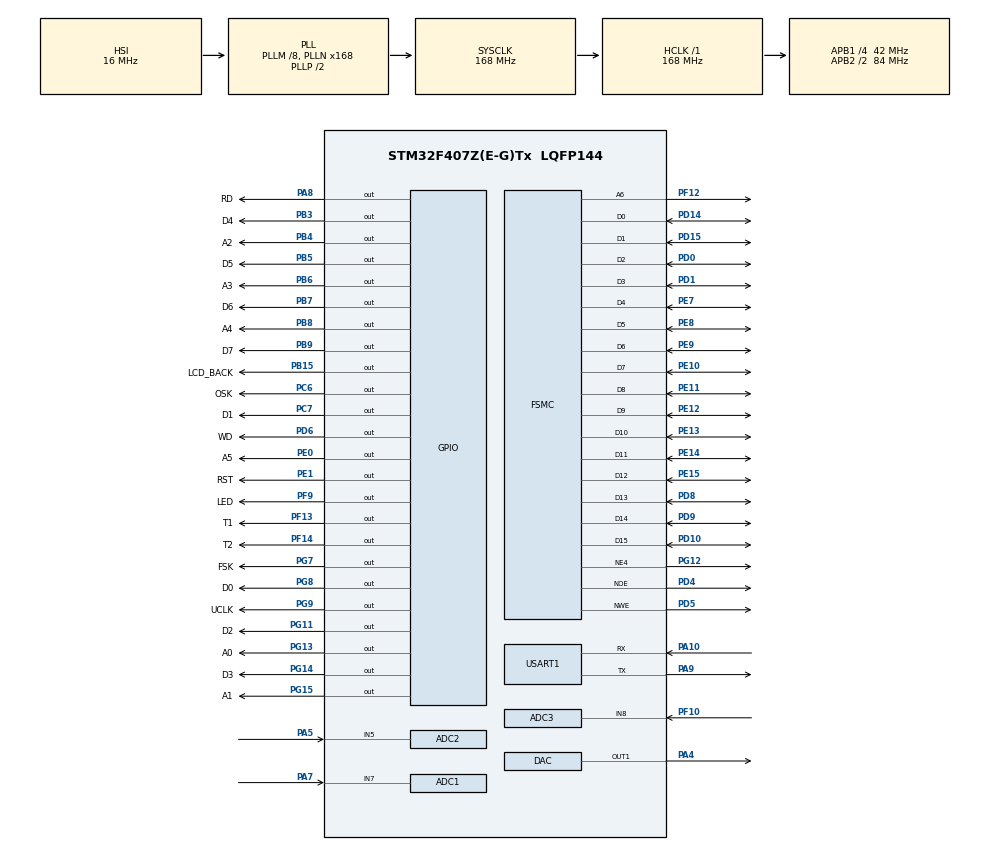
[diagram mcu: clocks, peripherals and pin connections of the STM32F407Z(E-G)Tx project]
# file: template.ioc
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PH0-OSC_IN.Signal=RCC_OSC_IN
Dma.DAC1.2.PeriphInc=DMA_PINC_DISABLE
SH.FSMC_D1_DA1.0=FSMC_D1,16b-d1
PG8.Signal=GPIO_Output
SH.FSMC_NWE.0=FSMC_NWE,Lcd1
PC6.GPIO_Label=OSK
PB6.GPIO_Label=A3
FSMC.ExtendedBusTurnAroundDuration1=0
Dma.ADC3.4.MemDataAlignment=DMA_MDATAALIGN_HALFWORD
PD6.GPIO_Label=WD
PG13.Signal=GPIO_Output
PB3.GPIO_Speed=GPIO_SPEED_FREQ_VERY_HIGH
Dma.ADC3.4.PeriphInc=DMA_PINC_DISABLE
TIM4.TIM_MasterOutputTrigger=TIM_TRGO_UPDATE
RCC.SYSCLKSource=RCC_SYSCLKSOURCE_PLLCLK
Dma.DAC1.2.FIFOMode=DMA_FIFOMODE_DISABLE
FREERTOS.configENABLE_FPU=1
Dma.USART1_TX.0.Direction=DMA_MEMORY_TO_PERIPH
PG15.GPIO_Label=A1
PD4.Signal=FSMC_NOE
RCC.APB2TimFreq_Value=168000000
PB6.Signal=GPIO_Output
ADC1.Channel-2\#ChannelRegularConversion=ADC_CHANNEL_7
PC7.Signal=GPIO_Output
Dma.ADC1.1.PeriphDataAlignment=DMA_PDATAALIGN_HALFWORD
PD0.Signal=FSMC_D2_DA2
PD8.Signal=FSMC_D13_DA13
PE1.Signal=GPIO_Output
PF14.GPIO_Speed=GPIO_SPEED_FREQ_LOW
Dma.ADC2.3.MemDataAlignment=DMA_MDATAALIGN_HALFWORD
NVIC.TIM8_TRG_COM_TIM14_IRQn=true\:0\:0\:false\:false\:true\:false\:false\:true
ADC3.SamplingTime-2\#ChannelRegularConversion=ADC_SAMPLETIME_3CYCLES
DAC.DAC_Trigger=DAC_TRIGGER_T4_TRGO
SH.FSMC_D10_DA10.0=FSMC_D10,16b-d1
PE9.Signal=FSMC_D6_DA6
PA8.Signal=GPIO_Output
FSMC.BusTurnAroundDuration1=10
TIM4.Period=10-1
ADC3.Channel-2\#ChannelRegularConversion=ADC_CHANNEL_8
VP_FREERTOS_VS_CMSIS_V1.Mode=CMSIS_V1
VP_SYS_VS_tim14.Mode=TIM14
Dma.ADC3.4.Mode=DMA_NORMAL
Dma.USART1_TX.0.PeriphDataAlignment=DMA_PDATAALIGN_BYTE
PE10.Signal=FSMC_D7_DA7
SH.FSMC_D5_DA5.0=FSMC_D5,16b-d1
Dma.ADC3.4.Priority=DMA_PRIORITY_LOW
Dma.ADC3.4.Instance=DMA2_Stream1
Dma.ADC3.4.FIFOMode=DMA_FIFOMODE_DISABLE
Mcu.Package=LQFP144
PB9.Signal=GPIO_Output
TIM2.Prescaler=84-1
NVIC.TimeBase=TIM8_TRG_COM_TIM14_IRQn
NVIC.TimeBaseIP=TIM14
PA10.Signal=USART1_RX
Dma.DAC1.2.Direction=DMA_MEMORY_TO_PERIPH
PB5.GPIO_Speed=GPIO_SPEED_FREQ_VERY_HIGH
PG8.GPIO_Speed=GPIO_SPEED_FREQ_VERY_HIGH
ADC3.DMAContinuousRequests=ENABLE
RCC.APB2CLKDivider=RCC_HCLK_DIV2
NVIC.DMA2_Stream2_IRQn=true\:5\:0\:false\:false\:true\:true\:false\:true
SH.FSMC_D3_DA3.0=FSMC_D3,16b-d1
PF14.Signal=GPIO_Output
RCC.APB1TimFreq_Value=84000000
PF10.Mode=IN8
NVIC.USART1_IRQn=true\:5\:0\:false\:false\:true\:true\:true\:true
PC6.GPIO_Speed=GPIO_SPEED_FREQ_VERY_HIGH
PA8.GPIO_Speed=GPIO_SPEED_FREQ_VERY_HIGH
PD15.Signal=FSMC_D1_DA1
PG12.Signal=FSMC_NE4
FSMC.ExtendedAddressSetupTime1=9
Dma.ADC2.3.PeriphDataAlignment=DMA_PDATAALIGN_HALFWORD
FREERTOS.Tasks01=defaultTask,0,128,StartDefaultTask,Default,NULL,Dynamic,NULL,NULL
PG9.Signal=GPIO_Output
PC6.Signal=GPIO_Output
PD1.Signal=FSMC_D3_DA3
SH.FSMC_D9_DA9.0=FSMC_D9,16b-d1
PF14.GPIO_Label=T2
NVIC.DMA2_Stream1_IRQn=true\:5\:0\:false\:false\:true\:true\:false\:true
Dma.ADC2.3.Priority=DMA_PRIORITY_LOW
RCC.APB1CLKDivider=RCC_HCLK_DIV4
PC14-OSC32_IN.Signal=RCC_OSC32_IN
Dma.ADC3.4.PeriphDataAlignment=DMA_PDATAALIGN_HALFWORD
PF13.GPIO_Label=T1
PG13.GPIO_Label=A0
SH.FSMC_D8_DA8.0=FSMC_D8,16b-d1
PE0.GPIO_Speed=GPIO_SPEED_FREQ_VERY_HIGH
PD10.Signal=FSMC_D15_DA15
PB8.GPIO_Label=A4
PA8.GPIO_Label=RD
FSMC.DataSetupTime1=60
SH.ADCx_IN7.0=ADC1_IN7,IN7
PA9.Signal=USART1_TX
Dma.ADC2.3.Direction=DMA_PERIPH_TO_MEMORY
PA5.Signal=ADCx_IN5
SH.FSMC_D7_DA7.0=FSMC_D7,16b-d1
PE1.GPIO_Label=RST
PE14.Signal=FSMC_D11_DA11
PE15.Signal=FSMC_D12_DA12
PB4.GPIO_Label=A2
PB15.GPIO_Label=LCD_BACK
PE8.Signal=FSMC_D5_DA5
PG7.GPIO_Label=FSK
Dma.ADC3.4.MemInc=DMA_MINC_ENABLE
PF13.Signal=GPIO_Output
ADC1.DMAContinuousRequests=ENABLE
TIM2.Period=5000-1
PA13.Mode=Serial_Wire
PG14.GPIO_Label=D3
Dma.ADC3.4.Direction=DMA_PERIPH_TO_MEMORY
PC7.GPIO_Label=D1
PA4.Signal=COMP_DAC1_group
PB5.Signal=GPIO_Output
ADC1.master=1
ADC2.NbrOfConversionFlag=1
USART1.VirtualMode=VM_ASYNC
SH.FSMC_D15_DA15.0=FSMC_D15,16b-d1
ProjectManager.HeapSize=0x3000
PF9.Signal=GPIO_Output
SH.ADCx_IN5.0=ADC2_IN5,IN5
VP_TIM4_VS_ClockSourceINT.Mode=Internal
Dma.DAC1.2.Priority=DMA_PRIORITY_LOW
NVIC.PriorityGroup=NVIC_PRIORITYGROUP_4
TIM2.AutoReloadPreload=TIM_AUTORELOAD_PRELOAD_ENABLE
PB6.GPIO_Speed=GPIO_SPEED_FREQ_VERY_HIGH
Mcu.Family=STM32F4
RCC.CortexFreq_Value=168000000
Dma.ADC1.1.MemDataAlignment=DMA_MDATAALIGN_HALFWORD
ADC1.ContinuousConvMode=ENABLE
SH.FSMC_A6.0=FSMC_A6,A6_1
ADC2.Channel-0\#ChannelRegularConversion=ADC_CHANNEL_5
SH.FSMC_D0_DA0.0=FSMC_D0,16b-d1
PF9.GPIO_Speed=GPIO_SPEED_FREQ_LOW
PG9.GPIO_Speed=GPIO_SPEED_FREQ_VERY_HIGH
PB15.Signal=GPIO_Output
PG15.Signal=GPIO_Output
PG11.Signal=GPIO_Output
ADC3.Rank-2\#ChannelRegularConversion=1
ProjectManager.StackSize=0x2000
Dma.DAC1.2.MemInc=DMA_MINC_ENABLE
Dma.USART1_TX.0.Priority=DMA_PRIORITY_LOW
ADC2.DMAContinuousRequests=ENABLE
Dma.ADC1.1.Instance=DMA2_Stream0
RCC.HCLKFreq_Value=168000000
PF13.GPIO_Speed=GPIO_SPEED_FREQ_LOW
PF12.Signal=FSMC_A6
Dma.ADC2.3.PeriphInc=DMA_PINC_DISABLE
NVIC.DMA2_Stream0_IRQn=true\:5\:0\:false\:false\:true\:true\:false\:true
RCC.AHBFreq_Value=168000000
PH0-OSC_IN.Mode=HSE-External-Oscillator
RCC.HSE_VALUE=25000000
PG11.GPIO_Speed=GPIO_SPEED_FREQ_VERY_HIGH
ADC1.Rank-2\#ChannelRegularConversion=1
PE13.Signal=FSMC_D10_DA10
SH.FSMC_D14_DA14.0=FSMC_D14,16b-d1
PC14-OSC32_IN.Mode=LSE-External-Oscillator
PA14.Mode=Serial_Wire
SH.FSMC_D6_DA6.0=FSMC_D6,16b-d1
Dma.ADC1.1.Priority=DMA_PRIORITY_HIGH
PB7.Signal=GPIO_Output
Dma.ADC1.1.Mode=DMA_NORMAL
DAC.DAC_OutputBuffer=DAC_OUTPUTBUFFER_DISABLE
SH.FSMC_D4_DA4.0=FSMC_D4,16b-d1
PH1-OSC_OUT.Mode=HSE-External-Oscillator
PB7.GPIO_Label=D6
NVIC.DMA2_Stream7_IRQn=true\:5\:0\:false\:false\:true\:true\:false\:true
Dma.ADC1.1.Direction=DMA_PERIPH_TO_MEMORY
PG15.GPIO_Speed=GPIO_SPEED_FREQ_VERY_HIGH
SH.FSMC_D13_DA13.0=FSMC_D13,16b-d1
Dma.ADC1.1.MemInc=DMA_MINC_ENABLE
Dma.USART1_TX.0.Instance=DMA2_Stream7
ADC2.SamplingTime-0\#ChannelRegularConversion=ADC_SAMPLETIME_3CYCLES
Dma.USART1_TX.0.FIFOMode=DMA_FIFOMODE_DISABLE
PE0.GPIO_Label=A5
TIM2.TIM_MasterOutputTrigger=TIM_TRGO_UPDATE
PB9.GPIO_Speed=GPIO_SPEED_FREQ_VERY_HIGH
PB5.GPIO_Label=D5
Dma.Request2=DAC1
Dma.Request1=ADC1
Dma.Request4=ADC3
Dma.Request3=ADC2
FREERTOS.configUSE_TICK_HOOK=1
Dma.DAC1.2.PeriphDataAlignment=DMA_PDATAALIGN_HALFWORD
SH.FSMC_D2_DA2.0=FSMC_D2,16b-d1
PG11.GPIO_Label=D2
PG13.GPIO_Speed=GPIO_SPEED_FREQ_VERY_HIGH
PE7.Signal=FSMC_D4_DA4
ADC2.Rank-0\#ChannelRegularConversion=1
PD6.Signal=GPIO_Output
Dma.Request0=USART1_TX
PB4.Signal=GPIO_Output
PB7.GPIO_Speed=GPIO_SPEED_FREQ_VERY_HIGH
PB3.GPIO_Label=D4
SH.COMP_DAC1_group.0=DAC_OUT1,DAC_OUT1
PC15-OSC32_OUT.Mode=LSE-External-Oscillator
TIM4.AutoReloadPreload=TIM_AUTORELOAD_PRELOAD_ENABLE
SH.FSMC_D12_DA12.0=FSMC_D12,16b-d1
Dma.USART1_TX.0.MemInc=DMA_MINC_ENABLE
PG7.Signal=GPIO_Output
PB9.GPIO_Label=D7
Dma.USART1_TX.0.PeriphInc=DMA_PINC_DISABLE
PA10.Mode=Asynchronous
FSMC.ExtendedMode1=FSMC_EXTENDED_MODE_ENABLE
FREERTOS.configUSE_TICKLESS_IDLE=0
PD9.Signal=FSMC_D14_DA14
PD5.Signal=FSMC_NWE
Dma.ADC2.3.FIFOMode=DMA_FIFOMODE_DISABLE
Dma.ADC2.3.Instance=DMA2_Stream2
ADC1.SamplingTime-2\#ChannelRegularConversion=ADC_SAMPLETIME_3CYCLES
PG8.GPIO_Label=D0
PA13.Signal=SYS_JTMS-SWDIO
PA9.Mode=Asynchronous
ProjectManager.TargetToolchain=Makefile
NVIC.DMA1_Stream5_IRQn=true\:5\:0\:false\:false\:true\:true\:false\:true
PF9.GPIO_Label=LED
PE11.Signal=FSMC_D8_DA8
PC15-OSC32_OUT.Signal=RCC_OSC32_OUT
PG9.GPIO_Label=UCLK
PG14.Signal=GPIO_Output
FSMC.ExtendedDataSetupTime1=8
Dma.USART1_TX.0.Mode=DMA_NORMAL
board=custom
PG12.Mode=NorPsramChipSelect4_1
PC7.GPIO_Speed=GPIO_SPEED_FREQ_VERY_HIGH
RCC.VCOOutputFreq_Value=336000000
Dma.ADC1.1.FIFOMode=DMA_FIFOMODE_DISABLE
PB4.GPIO_Speed=GPIO_SPEED_FREQ_VERY_HIGH
PG7.GPIO_Speed=GPIO_SPEED_FREQ_VERY_HIGH
RCC.APB2Freq_Value=84000000
VP_TIM2_VS_ClockSourceINT.Mode=Internal
PF10.Signal=ADC3_IN8
Dma.ADC2.3.Mode=DMA_NORMAL
PB15.GPIO_Speed=GPIO_SPEED_FREQ_VERY_HIGH
PE1.GPIO_Speed=GPIO_SPEED_FREQ_VERY_HIGH
PH1-OSC_OUT.Signal=RCC_OSC_OUT
Dma.DAC1.2.Instance=DMA1_Stream5
Dma.DAC1.2.Mode=DMA_CIRCULAR
Dma.DAC1.2.MemDataAlignment=DMA_MDATAALIGN_HALFWORD
Dma.ADC1.1.PeriphInc=DMA_PINC_DISABLE
Dma.ADC2.3.MemInc=DMA_MINC_ENABLE
ADC1.NbrOfConversion=1
Mcu.Name=STM32F407Z(E-G)Tx
PE0.Signal=GPIO_Output
PE12.Signal=FSMC_D9_DA9
PD14.Signal=FSMC_D0_DA0
RCC.48MHZClocksFreq_Value=84000000
PB3.Signal=GPIO_Output
RCC.SYSCLKFreq_VALUE=168000000
Dma.USART1_TX.0.MemDataAlignment=DMA_MDATAALIGN_BYTE
PA14.Signal=SYS_JTCK-SWCLK
SH.FSMC_D11_DA11.0=FSMC_D11,16b-d1
SH.FSMC_NOE.0=FSMC_NOE,Lcd1
RCC.HSI_VALUE=16000000
ADC1.NbrOfConversionFlag=1
RCC.PLLM=8
RCC.PLLN=168
PB8.Signal=GPIO_Output
RCC.APB1Freq_Value=42000000
PB8.GPIO_Speed=GPIO_SPEED_FREQ_VERY_HIGH
ADC3.NbrOfConversionFlag=1
PD6.GPIO_Speed=GPIO_SPEED_FREQ_VERY_HIGH
PG14.GPIO_Speed=GPIO_SPEED_FREQ_VERY_HIGH
ADC1.ClockPrescaler=ADC_CLOCK_SYNC_PCLK_DIV4
PA7.Signal=ADCx_IN7

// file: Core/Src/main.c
/* USER CODE BEGIN Header */
/**
  ******************************************************************************
  * @file           : main.c
  * @brief          : Main program body
  ******************************************************************************
  * @attention
  *
  * <h2><center>&copy; Copyright (c) 2021 STMicroelectronics.
  * All rights reserved.</center></h2>
  *
  * This software component is licensed by ST under Ultimate Liberty license
  * SLA0044, the "License"; You may not use this file except in compliance with
  * the License. You may obtain a copy of the License at:
  *                             www.st.com/SLA0044
  *
  ******************************************************************************
  */
/* USER CODE END Header */
#include "main.h"
#include "cmsis_os.h"
#include "adc.h"
#include "dac.h"
#include "dma.h"
#include "tim.h"
#include "usart.h"
#include "gpio.h"
#include "fsmc.h"

/* USER CODE BEGIN Includes */
#include "lvgl.h"
#include "lvgl_app.h"
#include <stdio.h>
#include <string.h>
#include <math.h>
#include "arm_math.h"
#include "arm_const_structs.h"

/* USER CODE END Includes */

/* USER CODE BEGIN PV */
uint8_t adc1CpltFlg=0;
uint8_t adc2CpltFlg=0;
uint8_t adc3CpltFlg=0;
uint16_t wave[wave_num];
uint16_t wave_auto_points[wave_num];
uint16_t AD1[AD_num];
uint16_t AD2[AD_num];
uint16_t AD3[AD_num];
uint16_t wave_auto_num=0;
uint16_t wave_max;
uint16_t wave_min;
float fft_inputbuf[FFT_LENGTH*2];		// FFT输入数组
float fft_outputbuf[FFT_LENGTH];		// FFT输出数组
uint16_t wave_point[8400] ;
uint16_t point_num;
float khz=350;

/* USER CODE END PV */

void SystemClock_Config(void);
void MX_FREERTOS_Init(void);
/* USER CODE BEGIN PFP */
void HAL_ADC_ConvCpltCallback(ADC_HandleTypeDef *hadc){
  if(hadc->Instance == ADC1){
    adc1CpltFlg =1;
    HAL_ADC_Stop_DMA(&hadc1);
  }
  if(hadc->Instance == ADC2){
    adc2CpltFlg =1;
    HAL_ADC_Stop_DMA(&hadc2);
  }
  if(hadc->Instance == ADC3){
    adc3CpltFlg =1;
    HAL_ADC_Stop_DMA(&hadc3);
  }
}
extern uint8_t waveAutoFlg;
void Wave_Data_Init(void){
  //AD1_Max=0;
  //AD1_Min=4096;
  uint16_t Point_num=AD_num;
  wave_max=0;
  wave_min=3300;
  for(int i = 0,k=0; i < Point_num;) {
    wave[k]=0;
    for (int j = 0; j < Point_num/wave_num; ++j) {
      wave[k]+=AD1[i++];
    }
    //printf("%ld\r\n",AD1[i]);
    wave[k]/=(Point_num/wave_num);
    if (!waveAutoFlg){
      wave[k]=(wave[k]/4096.0)*3300;
    }
    if(wave_max<wave[k]){
      wave_max=wave[k];
    }
    if(wave_min>wave[k]){
      wave_min=wave[k];
    }
    k++;
  }
}
void Wave_Auto(void){
  uint16_t wave_trigger;
  uint8_t triggerFlg=0;
  uint8_t endFlg=0;
  uint8_t k=0;
  wave_auto_num=0;
  memset(wave_auto_points,0,wave_num);
  wave_trigger=(wave_max-wave_min)/5*1+wave_min;
  int i=0;
  /*
  A<B<C
  A<=B<C
  A<B<=C
   */
  while (!(wave[i]<=wave_trigger&&wave_trigger<wave[i+1])&&i<wave_num)
  {
    i++;
  }
  i+=1;
  for (uint8_t j = 0; j < 3; j++)
  {
    wave_auto_points[wave_auto_num]=(wave[i]/4096.0)*3300;
    wave_auto_num++;
    i++;
    while (!(wave[i]<=wave_trigger&&wave_trigger<wave[i+1])&&i<wave_num)
    {
      wave_auto_points[wave_auto_num]=(wave[i]/4096.0)*3300;
      wave_auto_num++;
      i++;
    }
  }
  //printf("triggerFlg: %d\r\n",triggerFlg);
}

void FFT(void)
{
	int i = 0;

	for(i=0;i < FFT_LENGTH;i++)
	{
		fft_inputbuf[i*2] = AD1[i]*3.3/4095;
		fft_inputbuf[2*i +1] = 0;
	}
	arm_cfft_f32(&arm_cfft_sR_f32_len1024,fft_inputbuf,0,1); //
	arm_cmplx_mag_f32(fft_inputbuf,fft_outputbuf,FFT_LENGTH);    // 把运算结果复数求模得幅值
  for (int i = 0; i < FFT_LENGTH/2; i++)
  {
    wave[i]=round(fft_outputbuf[i]);
  }

  // for (int i = 0; i < 120; i++)
  // {
  //   printf("%d : %f\r\n",i,fft_outputbuf[i]);
  //   osDelay(15);
  // }

  // printf("\r\n\r\n");
  // osDelay(2000);
  extern lv_obj_t * THD_text;
  float temp,THD;
  temp=sqrt(fft_outputbuf[18]*fft_outputbuf[18]+fft_outputbuf[27]*fft_outputbuf[27]+fft_outputbuf[36]*fft_outputbuf[36]+fft_outputbuf[46]*fft_outputbuf[46]);
  THD=temp/fft_outputbuf[9]*100;
  char THD_temp[10];
  sprintf(THD_temp,"THD:%.2f%%",THD);
  lv_label_set_text(THD_text, THD_temp);
  // for (int i = 0; i < 110; i++)
  // {
  //   printf("%.2f\r\n",fft_outputbuf[i]);
  //   //osDelay(5);
  // }
    // printf("\r\n\r\n");

}

void TIM2_Callback(){
  //lv_task_handler();
}
/* USER CODE END PFP */

int main(void)
{

  /* MCU Configuration--------------------------------------------------------*/

  /* Reset of all peripherals, Initializes the Flash interface and the Systick. */
  HAL_Init();

  /* Configure the system clock */
  SystemClock_Config();

  /* Initialize all configured peripherals */
  MX_GPIO_Init();
  MX_DMA_Init();
  MX_USART1_UART_Init();
  MX_FSMC_Init();
  MX_TIM2_Init();
  MX_DAC_Init();
  MX_ADC1_Init();
  MX_TIM4_Init();
  MX_ADC2_Init();
  MX_ADC3_Init();
  /* USER CODE BEGIN 2 */
  // lv_init();
  // lv_port_disp_init();        // 显示器初始化
  // lv_port_indev_init();       // 输入设备初始化（如果没有实现就注释掉）
  // // lv_port_fs_init();          // 文件系统设备初始化（如果没有实现就注释掉）

  // wave_chart_init();
  // wave_btn();
  // HAL_TIM_Base_Start_IT(&htim2);
  /* USER CODE END 2 */

  /* Call init function for freertos objects (in freertos.c) */
  MX_FREERTOS_Init();
  /* Start scheduler */
  osKernelStart();

  /* We should never get here as control is now taken by the scheduler */
  /* Infinite loop */
  while (1)
  {

  }
}

void SystemClock_Config(void)
{
  RCC_OscInitTypeDef RCC_OscInitStruct = {0};
  RCC_ClkInitTypeDef RCC_ClkInitStruct = {0};

  /** Configure the main internal regulator output voltage
  */
  __HAL_RCC_PWR_CLK_ENABLE();
  __HAL_PWR_VOLTAGESCALING_CONFIG(PWR_REGULATOR_VOLTAGE_SCALE1);
  /** Initializes the RCC Oscillators according to the specified parameters
  * in the RCC_OscInitTypeDef structure.
  */
  RCC_OscInitStruct.OscillatorType = RCC_OSCILLATORTYPE_HSI;
  RCC_OscInitStruct.HSIState = RCC_HSI_ON;
  RCC_OscInitStruct.HSICalibrationValue = RCC_HSICALIBRATION_DEFAULT;
  RCC_OscInitStruct.PLL.PLLState = RCC_PLL_ON;
  RCC_OscInitStruct.PLL.PLLSource = RCC_PLLSOURCE_HSI;
  RCC_OscInitStruct.PLL.PLLM = 8;
  RCC_OscInitStruct.PLL.PLLN = 168;
  RCC_OscInitStruct.PLL.PLLP = RCC_PLLP_DIV2;
  RCC_OscInitStruct.PLL.PLLQ = 4;
  if (HAL_RCC_OscConfig(&RCC_OscInitStruct) != HAL_OK)
  {
    Error_Handler();
  }
  /** Initializes the CPU, AHB and APB buses clocks
  */
  RCC_ClkInitStruct.ClockType = RCC_CLOCKTYPE_HCLK|RCC_CLOCKTYPE_SYSCLK
                              |RCC_CLOCKTYPE_PCLK1|RCC_CLOCKTYPE_PCLK2;
  RCC_ClkInitStruct.SYSCLKSource = RCC_SYSCLKSOURCE_PLLCLK;
  RCC_ClkInitStruct.AHBCLKDivider = RCC_SYSCLK_DIV1;
  RCC_ClkInitStruct.APB1CLKDivider = RCC_HCLK_DIV4;
  RCC_ClkInitStruct.APB2CLKDivider = RCC_HCLK_DIV2;

  if (HAL_RCC_ClockConfig(&RCC_ClkInitStruct, FLASH_LATENCY_5) != HAL_OK)
  {
    Error_Handler();
  }
}

 /**
  * @brief  Period elapsed callback in non blocking mode
  * @note   This function is called  when TIM14 interrupt took place, inside
  * HAL_TIM_IRQHandler(). It makes a direct call to HAL_IncTick() to increment
  * a global variable "uwTick" used as application time base.
  * @param  htim : TIM handle
  * @retval None
  */
void HAL_TIM_PeriodElapsedCallback(TIM_HandleTypeDef *htim)
{
  if (htim->Instance == TIM14) {
    HAL_IncTick();
  }
  /* USER CODE BEGIN Callback 1 */
  if(htim->Instance == htim2.Instance)
    TIM2_Callback();
  /* USER CODE END Callback 1 */
}

void Error_Handler(void)
{
  __disable_irq();
  while (1)
  {
  }
}

/************************ (C) COPYRIGHT STMicroelectronics *****END OF FILE****/

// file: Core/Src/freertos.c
/* USER CODE BEGIN Header */
/**
  ******************************************************************************
  * File Name          : freertos.c
  * Description        : Code for freertos applications
  ******************************************************************************
  * @attention
  *
  * <h2><center>&copy; Copyright (c) 2021 STMicroelectronics.
  * All rights reserved.</center></h2>
  *
  * This software component is licensed by ST under Ultimate Liberty license
  * SLA0044, the "License"; You may not use this file except in compliance with
  * the License. You may obtain a copy of the License at:
  *                             www.st.com/SLA0044
  *
  ******************************************************************************
  */
/* USER CODE END Header */

#include "FreeRTOS.h"
#include "task.h"
#include "main.h"
#include "cmsis_os.h"

/* USER CODE BEGIN Includes */
#include "adc.h"
#include "dac.h"
#include "tim.h"
#include "lvgl.h"
#include "lvgl_app.h"
#include <stdio.h>
#include <string.h>
#include <math.h>
#include "AD9854.h"
/* USER CODE END Includes */

/* USER CODE BEGIN PM */
#define pi 3.141592
/* USER CODE END PM */

/* USER CODE BEGIN Variables */
osThreadId BlinkTaskHandle;
osThreadId lvglTaskHandle;
osThreadId ADCTaskHandle;
osThreadId TestTaskHandle;
osThreadId WaveModeTaskHandle;
osThreadId GifTaskHandle;
extern uint8_t adc1CpltFlg;
extern uint8_t adc2CpltFlg;
extern uint8_t adc3CpltFlg;
extern lv_obj_t * wave_chart;
extern uint8_t waveStopFlg;
extern lv_chart_series_t * wave_ser;
extern ADC_HandleTypeDef hadc1;
extern ADC_HandleTypeDef hadc2;
extern ADC_HandleTypeDef hadc3;
extern DAC_HandleTypeDef hdac;
extern uint16_t wave[wave_num];
extern uint16_t wave_auto_points[wave_num];
extern uint16_t AD1[AD_num];
extern uint16_t AD2[AD_num];
extern uint16_t AD3[AD_num];
extern uint8_t waveAutoFlg;
extern uint16_t wave_auto_num;
extern uint8_t distortion_mode;
extern float fft_outputbuf[FFT_LENGTH];
extern  uint16_t wave_point[4096] ;
extern  uint16_t point_num;
extern  float khz;
float Vadc1,Vadc2,Vadc3,Vin,Vin1,Vin2,Vout1,Vout2,A,Rin,Rout;
/* USER CODE END Variables */
osThreadId defaultTaskHandle;

/* USER CODE BEGIN FunctionPrototypes */
void lvgl_init(void){
  /* lvgl init */
  lv_init();
  lv_port_disp_init();        // 显示器初始化
  lv_port_indev_init();       // 输入设备初始化（如果没有实现就注释掉）
  // lv_port_fs_init();          // 文件系统设备初始化（如果没有实现就注释掉）

  wave_chart_init();
  /*
  wave_btn();
  distortion_list();
  */
  Task3_label();

  // Wireless_Welcome();
  // SCH_draw();

  for (;;)
  {
    osDelay(LVGL_TICK);
    lv_task_handler();
  }
}
void LED_Blinks(void){
  for(;;)
  {
    HAL_GPIO_TogglePin(LED_GPIO_Port,LED_Pin);
    //printf("hello world\r\n");
    osDelay(500);
  }
}
void wave_init(uint16_t *wave_target,uint16_t  point,float volt){
  HAL_DAC_Stop_DMA(&hdac, DAC_CHANNEL_1);
  for(uint16_t i=0;i<point;i++){
    wave_target[i]=(uint16_t)(2048+round(sin(1.0*i/point*2*pi)*volt/3.3*2047));
    // printf("%d\r\n",wave_target[i]);
    // osDelay(10);
  }
  // printf("\r\n");
  // osDelay(1000);
  HAL_DAC_Start_DMA(&hdac, DAC_CHANNEL_1, (uint32_t*)wave_point, point_num, DAC_ALIGN_12B_R);
}

void Wave_Scan(void){
  for (uint32_t i = 1; i <= 1000; i++)
  {
    AD9854_SetSine_double(i*1000,200.0/2000*4095);
    osDelay(200);
  }
}

void VppGet(uint16_t * AD_Target,float * VppTarget){
  uint16_t AD_MAX_MID=0;
  uint16_t AD_MIN_MID=100000;
  for (size_t i = 0; i < AD_num; i++)
  {
    if(AD_MAX_MID<AD_Target[i])AD_MAX_MID=AD_Target[i];
    if(AD_MIN_MID>AD_Target[i])AD_MIN_MID=AD_Target[i];
  }
  *VppTarget=(AD_MAX_MID-AD_MIN_MID)/4095.0*3.3;
}

void ADC_Task(void){

  HAL_ADC_Start_DMA(&hadc1,(uint16_t *)AD1,AD_num);
  HAL_ADC_Start_DMA(&hadc2,(uint16_t *)AD2,AD_num);
  HAL_ADC_Start_DMA(&hadc3,(uint16_t *)AD3,AD_num);
  // osDelay(500);

  uint16_t adc1_times=0;
  uint16_t adc2_times=0;
  uint16_t adc3_times=0;
  #define adc_temp_num 20
  float adc1_temp[adc_temp_num+1];
  float adc2_temp[adc_temp_num+1];
  float adc3_temp[adc_temp_num+1];
  for (;;)
  {
    if (adc1CpltFlg==1)
    {
      osDelay(2);
      adc1_times++;
      VppGet(AD1,&adc1_temp[adc1_times]);
      if (adc1_times==adc_temp_num)
      {
        float temp;
        for (int i = 1,k=1; i <= adc_temp_num; i++)
        {
          k=i;
          for (int j = i+1; j <= adc_temp_num; j++)
          {
            if (adc1_temp[j]<adc1_temp[k])k=j;
          }
          if (k!=i)
          {
            temp=adc1_temp[i];
            adc1_temp[i]=adc1_temp[k];
            adc1_temp[k]=temp;
          }
        }
        Vadc1=adc1_temp[adc_temp_num/2-1];

        adc1_times=0;
      }
      adc1CpltFlg=0;
      HAL_ADC_Start_DMA(&hadc1,(uint16_t *)AD1,AD_num);
    }
    if (adc2CpltFlg==1)
    {
      osDelay(2);
      adc2_times++;
      VppGet(AD2,&adc2_temp[adc2_times]);
      if (adc2_times==adc_temp_num)
      {
        float temp;
        for (int i = 1,k=1; i <= adc_temp_num; i++)
        {
          k=i;
          for (int j = i+1; j <= adc_temp_num; j++)
          {
            if (adc2_temp[j]<adc2_temp[k])k=j;
          }
          if (k!=i)
          {
            temp=adc2_temp[i];
            adc2_temp[i]=adc2_temp[k];
            adc2_temp[k]=temp;
          }
        }
        Vadc2=adc2_temp[adc_temp_num/2-1];
        // extern lv_obj_t * text_Rout;
        // char char_temp[10];
        // sprintf(char_temp,"Vpp:%.3f",Vadc2);
        // lv_label_set_text(text_Rout, char_temp);
        adc2_times=0;
      }
      adc2CpltFlg=0;
      HAL_ADC_Start_DMA(&hadc2,(uint16_t *)AD2,AD_num);
    }
    if (adc3CpltFlg==1)
    {
      osDelay(2);
      adc3_times++;
      VppGet(AD3,&adc3_temp[adc3_times]);
      if (adc3_times==adc_temp_num)
      {
        float temp;
        for (int i = 1,k=1; i <= adc_temp_num; i++)
        {
          k=i;
          for (int j = i+1; j <= adc_temp_num; j++)
          {
            if (adc3_temp[j]<adc3_temp[k])k=j;
          }
          if (k!=i)
          {
            temp=adc3_temp[i];
            adc3_temp[i]=adc3_temp[k];
            adc3_temp[k]=temp;
          }
        }
        Vadc3=adc3_temp[adc_temp_num/2-1];
        // extern lv_obj_t * text_A;
        // char char_temp[10];
        // sprintf(char_temp,"Vpp:%.3f",Vadc3);
        // lv_label_set_text(text_A, char_temp);
        // printf("%f\r\n",Vadc3);
        adc3_times=0;
      }
      adc3CpltFlg=0;
      HAL_ADC_Start_DMA(&hadc3,(uint16_t *)AD3,AD_num);
    }
  }
}

void Test_Task(void){
  extern lv_obj_t * text_Rin;
  extern lv_obj_t * text_Rout;
  extern lv_obj_t * text_A;
  extern lv_obj_t * text_Problem;
  extern uint8_t Flag_Rin;
  extern uint8_t Flag_Rout;
  extern uint8_t Flag_A;
  extern uint8_t Flag_Scan;
  extern uint8_t Flag_Problem;

  lv_label_set_text(text_Rin, "Rin: 41020o");
  lv_label_set_text(text_Rout, "Rout: 41020o");
  lv_label_set_text(text_A, "A: 100.12");
  lv_label_set_text(text_Problem, "Problem:    ");

  // 继电器断电，采样电阻断开
  HAL_GPIO_WritePin(T1_GPIO_Port,T1_Pin,GPIO_PIN_RESET);
  HAL_GPIO_WritePin(T2_GPIO_Port,T2_Pin,GPIO_PIN_RESET);

  // 输出1KHz 幅值200mV 正弦波
  AD9854_Init();
  osDelay(1000);//
  AD9854_SetSine(1000,200.0/2000*4095);
HAL_GPIO_WritePin(T1_GPIO_Port,T1_Pin,GPIO_PIN_SET);
  uint8_t test_loop=1;
  for (;;)
  {
    osDelay(50);
    if (Flag_Rin==1||test_loop)
    {

      osDelay(100);
      Vin1=Vadc1;
      Vin2=Vadc3;
      printf("%f %f \r\n",Vin1,Vin2);
      Rin=10000.0*Vin2/(Vin1-Vin2);
      //HAL_GPIO_WritePin(T1_GPIO_Port,T1_Pin,GPIO_PIN_RESET);

      char char_temp[10];
      sprintf(char_temp,"Rin:%.3fk",Rin/1000.0);
      lv_label_set_text(text_Rin, char_temp);

      // sprintf(char_temp,"Vpp:%.3f",Vin1);
      // lv_label_set_text(text_Rout, char_temp);

      // sprintf(char_temp,"Vpp:%.3f",Vin2);
      // lv_label_set_text(text_A, char_temp);

      Flag_Rin=0;
    }
    if (Flag_Rout==1)
    {
      HAL_GPIO_WritePin(T1_GPIO_Port,T1_Pin,GPIO_PIN_RESET);
      osDelay(50);
      Vout1=Vadc2;
      HAL_GPIO_WritePin(T1_GPIO_Port,T1_Pin,GPIO_PIN_SET);
      osDelay(50);
      Vout2=Vadc2;
      Rout=10000.0*Vin2/(Vin1-Vin2);
      HAL_GPIO_WritePin(T1_GPIO_Port,T1_Pin,GPIO_PIN_SET);

      char char_temp[10];
      sprintf(char_temp,"Rout:%.3fk",Rout/1000.0);
      lv_label_set_text(text_Rout, char_temp);

      // sprintf(char_temp,"Vpp:%.3f",Vin1);
      // lv_label_set_text(text_Rout, char_temp);

      // sprintf(char_temp,"Vpp:%.3f",Vin2);
      // lv_label_set_text(text_A, char_temp);

      Flag_Rout=0;
    }

  }
}

void Wave_Mode(void){
  for (;;)
  {
    osDelay(250);
  }
}

void gif_loop(void){
  extern lv_obj_t * fox_img;
  for(;;){
    LV_IMG_DECLARE(f0);
    lv_img_set_src(fox_img, &f0);
    osDelay(70);
    LV_IMG_DECLARE(f1);
    lv_img_set_src(fox_img, &f1);
    osDelay(70);
    LV_IMG_DECLARE(f2);
    lv_img_set_src(fox_img, &f2);
    osDelay(70);
    LV_IMG_DECLARE(f3);
    lv_img_set_src(fox_img, &f3);
    osDelay(70);
    // LV_IMG_DECLARE(f4);
    // lv_img_set_src(fox_img, &f4);
    // osDelay(33);
    // LV_IMG_DECLARE(f5);
    // lv_img_set_src(fox_img, &f5);
    // osDelay(33);
    // LV_IMG_DECLARE(f6);
    // lv_img_set_src(fox_img, &f6);
    // osDelay(33);
    // LV_IMG_DECLARE(f7);
    // lv_img_set_src(fox_img, &f7);
    // osDelay(33);
    // LV_IMG_DECLARE(f8);
    // lv_img_set_src(fox_img, &f8);
    // osDelay(33);
    // LV_IMG_DECLARE(f9);
    // lv_img_set_src(fox_img, &f9);
    // osDelay(33);
  }
}
/* USER CODE END FunctionPrototypes */

void StartDefaultTask(void const * argument);

void MX_FREERTOS_Init(void); /* (MISRA C 2004 rule 8.1) */

/* GetIdleTaskMemory prototype (linked to static allocation support) */
void vApplicationGetIdleTaskMemory( StaticTask_t **ppxIdleTaskTCBBuffer, StackType_t **ppxIdleTaskStackBuffer, uint32_t *pulIdleTaskStackSize );

/* Hook prototypes */
void vApplicationTickHook(void);

/* USER CODE BEGIN 3 */
void vApplicationTickHook( void )
{
   /* This function will be called by each tick interrupt if
   configUSE_TICK_HOOK is set to 1 in FreeRTOSConfig.h. User code can be
   added here, but the tick hook is called from an interrupt context, so
   code must not attempt to block, and only the interrupt safe FreeRTOS API
   functions can be used (those that end in FromISR()). */
   lv_tick_inc(1);
}
/* USER CODE END 3 */

/* USER CODE BEGIN GET_IDLE_TASK_MEMORY */
static StaticTask_t xIdleTaskTCBBuffer;
static StackType_t xIdleStack[configMINIMAL_STACK_SIZE];

void vApplicationGetIdleTaskMemory( StaticTask_t **ppxIdleTaskTCBBuffer, StackType_t **ppxIdleTaskStackBuffer, uint32_t *pulIdleTaskStackSize )
{
  *ppxIdleTaskTCBBuffer = &xIdleTaskTCBBuffer;
  *ppxIdleTaskStackBuffer = &xIdleStack[0];
  *pulIdleTaskStackSize = configMINIMAL_STACK_SIZE;
  /* place for user code */
}
/* USER CODE END GET_IDLE_TASK_MEMORY */

void MX_FREERTOS_Init(void) {

  /* Create the thread(s) */
  /* definition and creation of defaultTask */
  osThreadDef(defaultTask, StartDefaultTask, osPriorityNormal, 0, 128);
  defaultTaskHandle = osThreadCreate(osThread(defaultTask), NULL);

  /* USER CODE BEGIN RTOS_THREADS */

  // lvgl任务调度及初始化
  osThreadDef(lvgl, lvgl_init, osPriorityRealtime , 0, 512);
  lvglTaskHandle = osThreadCreate(osThread(lvgl), NULL);

  // osThreadDef(gif, gif_loop, osPriorityNormal , 0, 512);
  // GifTaskHandle = osThreadCreate(osThread(gif), NULL);

  // ADC任务
  osThreadDef(adctask, ADC_Task, osPriorityNormal, 0, 1024);
  ADCTaskHandle = osThreadCreate(osThread(adctask), NULL);
  // 逻辑判断线程
  osThreadDef(testtask, Test_Task, osPriorityNormal, 0, 512);
  TestTaskHandle = osThreadCreate(osThread(testtask), NULL);

  /*
  // 控制线程
  osThreadDef(wavemode, Wave_Mode, osPriorityNormal , 0, 128);
  WaveModeTaskHandle = osThreadCreate(osThread(wavemode), NULL);
  */

  // osThreadDef(blink, LED_Blinks, osPriorityNormal, 0, 128);
  // BlinkTaskHandle = osThreadCreate(osThread(blink), NULL);
  // osThreadDef(hello, Helloworld, osPriorityNormal, 0, 128);
  // HelloTaskHandle = osThreadCreate(osThread(hello), NULL);

  /* USER CODE END RTOS_THREADS */

}

void StartDefaultTask(void const * argument)
{
  /* USER CODE BEGIN StartDefaultTask */
  /* Infinite loop */
  for(;;)
  {
    //printf("1\r\n");
    osDelay(1000);
  }
  /* USER CODE END StartDefaultTask */
}

/************************ (C) COPYRIGHT STMicroelectronics *****END OF FILE****/
